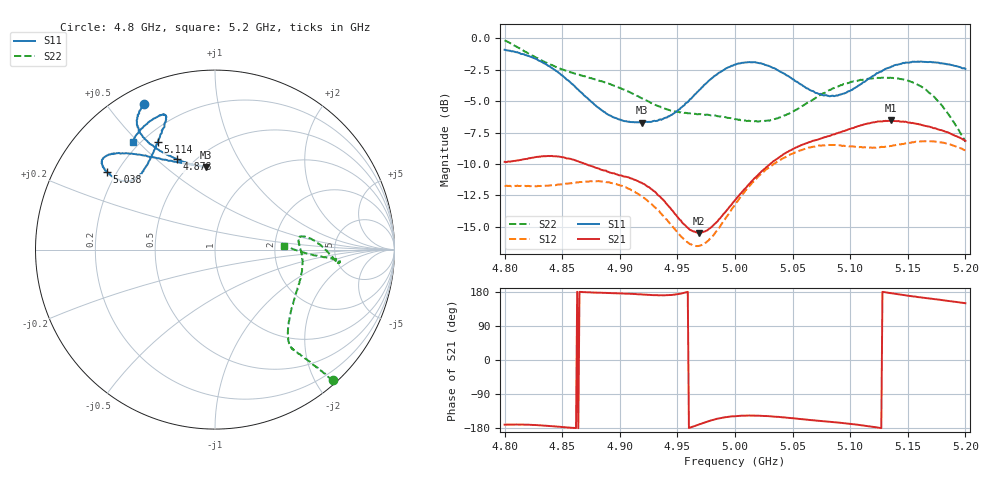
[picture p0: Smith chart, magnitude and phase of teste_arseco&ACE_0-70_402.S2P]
! Network Analyzer HP8722D
! Hewlett-Packard
! Data name: Linha & Wilkinson
! Saver's name: Rodrigo Anjos
! Comments: Teste da utilização de aquisição
! continua pelo VNA HP8722D
! Time and date: 8/5/2025 16:06
!  Frequency  S11  S21  S12  S22
# HZ  S  MA R 50
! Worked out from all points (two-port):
!   401 points, 4.8 GHz to 5.2 GHz, reference 50 ohm
!   highest |S21| = -6.52 dB at 5.135 GHz (marker M1); lowest = -15.5 dB at 4.969 GHz (marker M2)
!   |S21| within 3 dB of the highest: 4.823 GHz to 4.853 GHz (30.27 MHz wide, 0.626 % of centre); 5.037 GHz to end of sweep
!   lowest |S11| = -6.7 dB at 4.919 GHz (marker M3), VSWR 2.72, Z = 30 + j35 ohm
!   |S11| at or under -10 dB: nowhere
!   |S22| runs from -8.2 to -0.2 dB; largest |S21 - S12| = 0.83
!   S11 on the Smith chart (normalised r, x): 4.8 GHz: 0.07, +0.62; 4.878 GHz: 0.41, +0.59; 5.038 GHz: 0.16, +0.31; 5.114 GHz: 0.26, +0.57; 5.2 GHz: 0.17, +0.48
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4.8e9  0.9012 115.8  0.3228 -170.7  0.2586 -86.2  0.9814 -47.9
4.834e9  0.7967 122.3  0.34 -173.1  0.2589 -77.1  0.8087 -50.0
4.849e9  0.7167 122.1  0.3374 -176.7  0.2625 -72.1  0.7556 -50.9
4.867e9  0.6061 117.7  0.3204 179.3  0.2683 -67.8  0.7117 -51.8
4.878e9  0.545 112.7  0.3075 177.9  0.2699 -66.6  0.6881 -52.1
4.901e9  0.474 100.5  0.285 175.9  0.2593 -67.3  0.6327 -50.1
4.919e9  0.462 96.2  0.2664 173.1  0.235 -69.4  0.578 -44.8
4.934e9  0.4745 99.9  0.2363 170.6  0.2059 -69.9  0.5367 -37.1
4.957e9  0.5513 116.1  0.1801 178.4  0.1571 -60.0  0.5058 -21.9
4.969e9  0.6232 124.2  0.1681 -169.7  0.1495 -46.6  0.4997 -14.7
4.981e9  0.7007 130.5  0.1802 -158.1  0.1642 -33.1  0.4934 -8.6
5e9  0.7864 137.5  0.2269 -148.3  0.2185 -21.5  0.4771 -0.2
5.018e9  0.8025 141.8  0.2804 -146.8  0.2754 -18.7  0.4691 5.7
5.038e9  0.7431 144.3  0.3354 -150.3  0.326 -19.1  0.4836 8.6
5.067e9  0.6181 142.0  0.3907 -158.8  0.3704 -21.3  0.5679 4.0
5.088e9  0.5936 132.9  0.4189 -164.6  0.3757 -24.4  0.641 -2.5
5.114e9  0.6806 117.9  0.4569 -173.9  0.3683 -27.3  0.6882 -6.0
5.134e9  0.7654 111.0  0.4689 176.9  0.3723 -29.5  0.6967 -5.5
5.135e9  0.7679 110.9  0.472 176.5  0.3733 -29.5  0.6977 -5.4
5.162e9  0.808 112.9  0.4523 164.9  0.3895 -36.3  0.642 -4.2
5.179e9  0.7961 118.7  0.4317 158.2  0.3856 -41.6  0.5443 -3.1
5.2e9  0.7553 127.5  0.3911 149.9  0.3581 -47.3  0.3877 3.3
